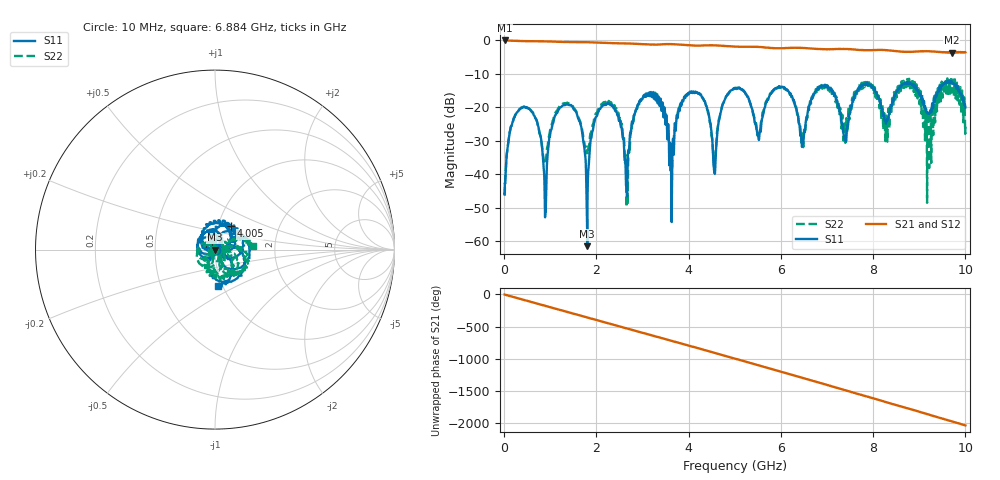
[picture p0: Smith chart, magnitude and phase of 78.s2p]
!Keysight Technologies,E5080B,MY59205177,A.15.75.32
!Date: Friday, February 23, 2024 03:33:20
!Correction: S11(Cdelta 2-Port  )
!S21(Cdelta 2-Port  )
!S12(Cdelta 2-Port  )
!S22(Cdelta 2-Port  )
!S2P File: Measurements: S11, S21, S12, S22:
# Hz S  dB  R 50
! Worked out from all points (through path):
!   10001 points, 10 MHz to 10 GHz, reference 50 ohm
!   highest |S21| = -0.01 dB at 14 MHz (marker M1); lowest = -3.7 dB at 9.701 GHz (marker M2)
!   group delay of S21, straight-line fit = 565 ps
!   lowest |S11| = -61.5 dB at 1.801 GHz (marker M3), VSWR 1.00, Z = 50 - j0.0833 ohm
!   |S11| at or under -10 dB: start of sweep to end of sweep
!   |S22| runs from -49.8 to -11.2 dB; largest |S21 - S12| = 0.0015
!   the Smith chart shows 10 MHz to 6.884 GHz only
!   S11 on the Smith chart (normalised r, x): 10 MHz: 1.01, -0.00; 4.005 GHz: 1.15, +0.31; 6.884 GHz: 0.95, -0.40
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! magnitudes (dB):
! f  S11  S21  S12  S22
! 10 MHz  -46.1  0.0  0.0  -46.0
! 14 MHz  -43.3  0.0  0.0  -45.5
! 374.6 MHz  -20.2  -0.2  -0.2  -20.1
! 888.1 MHz  -52.2  -0.3  -0.3  -36.6
! 1.178 GHz  -20.7  -0.4  -0.4  -20.2
! 1.675 GHz  -26.1  -0.5  -0.5  -25.5
! 1.801 GHz  -61.5  -0.5  -0.5  -33.1
! 2.109 GHz  -19.9  -0.7  -0.7  -19.0
! 2.662 GHz  -46.3  -0.9  -0.9  -43.8
! 2.906 GHz  -19.3  -1.1  -1.1  -18.8
! 3.341 GHz  -17.5  -1.2  -1.2  -17.7
! 3.627 GHz  -47.1  -1.1  -1.1  -42.1
! 4.005 GHz  -16.1  -1.4  -1.4  -15.8
! 4.561 GHz  -39.5  -1.5  -1.5  -38.5
! 5.005 GHz  -14.2  -1.9  -1.9  -14.5
! 5.517 GHz  -29.5  -1.9  -1.9  -28.5
! 6.67 GHz  -17.3  -2.4  -2.4  -16.9
! 6.884 GHz  -13.8  -2.6  -2.6  -13.4
! 7.385 GHz  -29.7  -2.6  -2.6  -26.0
! 8.336 GHz  -22.7  -3.0  -3.0  -20.9
! 9.701 GHz  -12.2  -3.7  -3.7  -13.8
! 10 GHz  -20.0  -3.6  -3.6  -25.6
